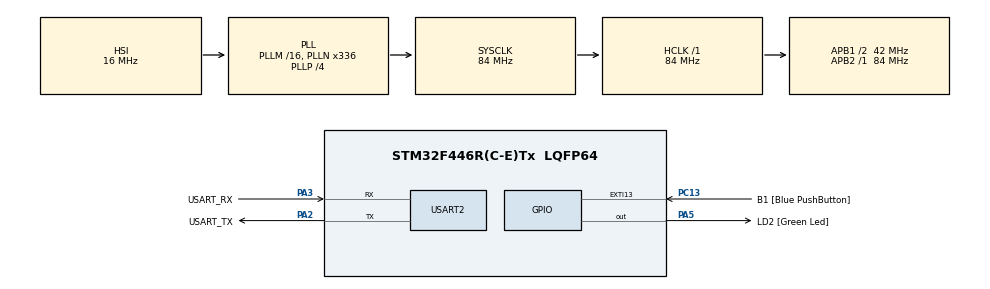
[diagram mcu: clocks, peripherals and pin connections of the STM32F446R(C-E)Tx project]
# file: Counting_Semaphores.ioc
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FREERTOS.Tasks01=defaultTask,0,128,StartDefaultTask,Default,NULL,Dynamic,NULL,NULL
FREERTOS.configUSE_COUNTING_SEMAPHORES=1
FREERTOS.configUSE_NEWLIB_REENTRANT=1
Mcu.Family=STM32F4
Mcu.Name=STM32F446R(C-E)Tx
Mcu.Package=LQFP64
NVIC.PriorityGroup=NVIC_PRIORITYGROUP_4
NVIC.TIM6_DAC_IRQn=true\:15\:0\:false\:false\:true\:false\:false\:true\:true
NVIC.TimeBase=TIM6_DAC_IRQn
NVIC.TimeBaseIP=TIM6
PA13.GPIO_Label=TMS
PA13.Mode=Serial_Wire
PA13.Signal=SYS_JTMS-SWDIO
PA14.GPIO_Label=TCK
PA14.Mode=Serial_Wire
PA14.Signal=SYS_JTCK-SWCLK
PA2.GPIO_Label=USART_TX
PA2.Mode=Asynchronous
PA2.Signal=USART2_TX
PA3.GPIO_Label=USART_RX
PA3.Mode=Asynchronous
PA3.Signal=USART2_RX
PA5.GPIO_Label=LD2 [Green Led]
PA5.Signal=GPIO_Output
PB3.GPIO_Label=SWO
PB3.Signal=SYS_JTDO-SWO
PC13.GPIO_Label=B1 [Blue PushButton]
PC13.GPIO_ModeDefaultEXTI=GPIO_MODE_IT_FALLING
PC13.Signal=GPXTI13
PC14-OSC32_IN.Mode=LSE-External-Oscillator
PC14-OSC32_IN.Signal=RCC_OSC32_IN
PC15-OSC32_OUT.Mode=LSE-External-Oscillator
PC15-OSC32_OUT.Signal=RCC_OSC32_OUT
PH0-OSC_IN.Mode=HSE-External-Oscillator
PH0-OSC_IN.Signal=RCC_OSC_IN
PH1-OSC_OUT.Mode=HSE-External-Oscillator
PH1-OSC_OUT.Signal=RCC_OSC_OUT
ProjectManager.HeapSize=0x200
ProjectManager.StackSize=0x400
ProjectManager.TargetToolchain=STM32CubeIDE
RCC.48MHZClocksFreq_Value=84000000
RCC.AHBFreq_Value=84000000
RCC.APB1CLKDivider=RCC_HCLK_DIV2
RCC.APB1Freq_Value=42000000
RCC.APB1TimFreq_Value=84000000
RCC.APB2Freq_Value=84000000
RCC.APB2TimFreq_Value=84000000
RCC.CortexFreq_Value=84000000
RCC.FLatency-AdvancedSettings=FLASH_LATENCY_2
RCC.HCLKFreq_Value=84000000
RCC.HSE_VALUE=8000000
RCC.HSI_VALUE=16000000
RCC.PLLN=336
RCC.PLLP=RCC_PLLP_DIV4
RCC.SYSCLKFreq_VALUE=84000000
RCC.SYSCLKSource=RCC_SYSCLKSOURCE_PLLCLK
RCC.USBFreq_Value=168000000
RCC.VCOOutputFreq_Value=336000000
USART2.VirtualMode=VM_ASYNC
VP_FREERTOS_VS_CMSIS_V1.Mode=CMSIS_V1
VP_SYS_VS_tim6.Mode=TIM6
board=NUCLEO-F446RE

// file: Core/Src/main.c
/* USER CODE BEGIN Header */
/**
  ******************************************************************************
  * @file           : main.c
  * @brief          : Main program body
  ******************************************************************************
  * @attention
  *
  * Copyright (c) 2025 STMicroelectronics.
  * All rights reserved.
  *
  * This software is licensed under terms that can be found in the LICENSE file
  * in the root directory of this software component.
  * If no LICENSE file comes with this software, it is provided AS-IS.
  *
  ******************************************************************************
  */
/* USER CODE END Header */
#include "main.h"
#include "cmsis_os.h"

/* USER CODE BEGIN Includes */
#include "FreeRTOS.h"
#include "task.h"
#include "timers.h"
#include "queue.h"
#include "semphr.h"
#include "event_groups.h"

#include "stdlib.h"
#include "string.h"

/* USER CODE END Includes */

UART_HandleTypeDef huart2;

/* USER CODE BEGIN PV */
char str[100];
//Task based
TaskHandle_t HPT_Handler;
void HPT_task(void *pvParameters);

TaskHandle_t MPT_Handler;
void MPT_task(void *pvParameters);

TaskHandle_t LPT_Handler;
void LPT_task(void *pvParameters);

TaskHandle_t VLPT_Handler;
void VLPT_task(void *pvParameters);

//Semaphore based
SemaphoreHandle_t CountingSemaphore;

//resource based
int resource[3] = {111,222,333};
int idx = 0;

uint8_t rxdata = 0;
/* USER CODE END PV */

void SystemClock_Config(void);
static void MX_GPIO_Init(void);
static void MX_USART2_UART_Init(void);

int main(void)
{

  /* MCU Configuration--------------------------------------------------------*/

  /* Reset of all peripherals, Initializes the Flash interface and the Systick. */
  HAL_Init();

  /* Configure the system clock */
  SystemClock_Config();

  /* Initialize all configured peripherals */
  MX_GPIO_Init();
  MX_USART2_UART_Init();

  /* USER CODE BEGIN 2 */
  CountingSemaphore = xSemaphoreCreateCounting(3,0);
  if (CountingSemaphore == NULL){
	  HAL_UART_Transmit(&huart2, (uint8_t *)"Unable to CreateSemaphore\r\n ",50,HAL_MAX_DELAY);
	  sprintf(str,"Unable to initialze CS");
  }
  else{
	  HAL_UART_Transmit(&huart2, (uint8_t*)"initialised the counting semaphore",50,HAL_MAX_DELAY);
	  sprintf(str,"initialzed CS");
  }

  //create tasks

  xTaskCreate(HPT_task,"HPT",128,NULL,3,&HPT_Handler);
  xTaskCreate(MPT_task,"MPT",128,NULL,2,&MPT_Handler);
  xTaskCreate(LPT_task,"LPT",128,NULL,1,&LPT_Handler);
  xTaskCreate(VLPT_task,"VLPT",128,NULL,0,&VLPT_Handler);

  vTaskStartScheduler();
  /* USER CODE END 2 */

  /* Create the thread(s) */

  /* We should never get here as control is now taken by the scheduler */

  /* Infinite loop */
  while (1)
  {

  }
}

void SystemClock_Config(void)
{
  RCC_OscInitTypeDef RCC_OscInitStruct = {0};
  RCC_ClkInitTypeDef RCC_ClkInitStruct = {0};

  /** Configure the main internal regulator output voltage
  */
  __HAL_RCC_PWR_CLK_ENABLE();
  __HAL_PWR_VOLTAGESCALING_CONFIG(PWR_REGULATOR_VOLTAGE_SCALE3);

  /** Initializes the RCC Oscillators according to the specified parameters
  * in the RCC_OscInitTypeDef structure.
  */
  RCC_OscInitStruct.OscillatorType = RCC_OSCILLATORTYPE_HSI;
  RCC_OscInitStruct.HSIState = RCC_HSI_ON;
  RCC_OscInitStruct.HSICalibrationValue = RCC_HSICALIBRATION_DEFAULT;
  RCC_OscInitStruct.PLL.PLLState = RCC_PLL_ON;
  RCC_OscInitStruct.PLL.PLLSource = RCC_PLLSOURCE_HSI;
  RCC_OscInitStruct.PLL.PLLM = 16;
  RCC_OscInitStruct.PLL.PLLN = 336;
  RCC_OscInitStruct.PLL.PLLP = RCC_PLLP_DIV4;
  RCC_OscInitStruct.PLL.PLLQ = 2;
  RCC_OscInitStruct.PLL.PLLR = 2;
  if (HAL_RCC_OscConfig(&RCC_OscInitStruct) != HAL_OK)
  {
    Error_Handler();
  }

  /** Initializes the CPU, AHB and APB buses clocks
  */
  RCC_ClkInitStruct.ClockType = RCC_CLOCKTYPE_HCLK|RCC_CLOCKTYPE_SYSCLK
                              |RCC_CLOCKTYPE_PCLK1|RCC_CLOCKTYPE_PCLK2;
  RCC_ClkInitStruct.SYSCLKSource = RCC_SYSCLKSOURCE_PLLCLK;
  RCC_ClkInitStruct.AHBCLKDivider = RCC_SYSCLK_DIV1;
  RCC_ClkInitStruct.APB1CLKDivider = RCC_HCLK_DIV2;
  RCC_ClkInitStruct.APB2CLKDivider = RCC_HCLK_DIV1;

  if (HAL_RCC_ClockConfig(&RCC_ClkInitStruct, FLASH_LATENCY_2) != HAL_OK)
  {
    Error_Handler();
  }
}

static void MX_USART2_UART_Init(void)
{

  huart2.Instance = USART2;
  huart2.Init.BaudRate = 115200;
  huart2.Init.WordLength = UART_WORDLENGTH_8B;
  huart2.Init.StopBits = UART_STOPBITS_1;
  huart2.Init.Parity = UART_PARITY_NONE;
  huart2.Init.Mode = UART_MODE_TX_RX;
  huart2.Init.HwFlowCtl = UART_HWCONTROL_NONE;
  huart2.Init.OverSampling = UART_OVERSAMPLING_16;
  if (HAL_UART_Init(&huart2) != HAL_OK)
  {
    Error_Handler();
  }

}

static void MX_GPIO_Init(void)
{
  GPIO_InitTypeDef GPIO_InitStruct = {0};

  /* GPIO Ports Clock Enable */
  __HAL_RCC_GPIOC_CLK_ENABLE();
  __HAL_RCC_GPIOH_CLK_ENABLE();
  __HAL_RCC_GPIOA_CLK_ENABLE();
  __HAL_RCC_GPIOB_CLK_ENABLE();

  /*Configure GPIO pin Output Level */
  HAL_GPIO_WritePin(LD2_GPIO_Port, LD2_Pin, GPIO_PIN_RESET);

  /*Configure GPIO pin : B1_Pin */
  GPIO_InitStruct.Pin = B1_Pin;
  GPIO_InitStruct.Mode = GPIO_MODE_IT_FALLING;
  GPIO_InitStruct.Pull = GPIO_NOPULL;
  HAL_GPIO_Init(B1_GPIO_Port, &GPIO_InitStruct);

  /*Configure GPIO pin : LD2_Pin */
  GPIO_InitStruct.Pin = LD2_Pin;
  GPIO_InitStruct.Mode = GPIO_MODE_OUTPUT_PP;
  GPIO_InitStruct.Pull = GPIO_NOPULL;
  GPIO_InitStruct.Speed = GPIO_SPEED_FREQ_LOW;
  HAL_GPIO_Init(LD2_GPIO_Port, &GPIO_InitStruct);

}

/* USER CODE BEGIN 4 */
void HPT_task(void *pvParameters){
	char sresource[10];

	//Give 3 semaphores at the beginning
	xSemaphoreGive(CountingSemaphore);
	xSemaphoreGive(CountingSemaphore);
	xSemaphoreGive(CountingSemaphore);
	while(1){
		char str[] = "Entered HPT task \n about to acquire the semaphore\r\n";
	    xSemaphoreTake(CountingSemaphore,portMAX_DELAY);

	    itoa(resource[idx],sresource,10);
	    strcpy(str,sresource);
	    strcat(str,"\n Not releasing the Semaphore\r\n");
	    HAL_UART_Transmit(&huart2, (uint8_t *)str,strlen(str),HAL_MAX_DELAY);

	    idx ++;
	    if (idx >2) idx = 0;
	    vTaskDelay(3000);
	}
}

/* USER CODE BEGIN 4 */
void MPT_task(void *pvParameters){
	char sresource[10];

	while(1){
		char str[] = "Entered MPT task \n about to acquire the semaphore\r\n";
	    xSemaphoreTake(CountingSemaphore,portMAX_DELAY);

	    itoa(resource[idx],sresource,10);
	    strcpy(str,sresource);
	    strcat(str,"\n Not releasing the Semaphore\r\n");
	    HAL_UART_Transmit(&huart2, (uint8_t *)str,strlen(str),HAL_MAX_DELAY);

	    idx ++;
	    if (idx >2) idx = 0;
	    vTaskDelay(1000);
	}
}

/* USER CODE BEGIN 4 */
void LPT_task(void *pvParameters){
	char sresource[10];

	while(1){
		char str[] = "Entered LPT task \n about to acquire the semaphore\r\n";
	    xSemaphoreTake(CountingSemaphore,portMAX_DELAY);

	    itoa(resource[idx],sresource,10);
	    strcpy(str,sresource);
	    strcat(str,"\n Not releasing the Semaphore\r\n");
	    HAL_UART_Transmit(&huart2, (uint8_t *)str,strlen(str),HAL_MAX_DELAY);

	    idx ++;
	    if (idx >2) idx = 0;
	    vTaskDelay(1000);
	}
}

/* USER CODE BEGIN 4 */
void VLPT_task(void *pvParameters){
	char sresource[10];

	while(1){
		char str[] = "Entered VLPT task \n about to acquire the semaphore\r\n";
	    xSemaphoreTake(CountingSemaphore,portMAX_DELAY);

	    itoa(resource[idx],sresource,10);
	    strcpy(str,sresource);
	    strcat(str,"\n Not releasing the Semaphore\r\n");
	    HAL_UART_Transmit(&huart2, (uint8_t *)str,strlen(str),HAL_MAX_DELAY);

	    idx ++;
	    if (idx >2) idx = 0;
	    vTaskDelay(1000);
	}
}
/* USER CODE END 4 */

void HAL_TIM_PeriodElapsedCallback(TIM_HandleTypeDef *htim)
{
  if (htim->Instance == TIM6) {
    HAL_IncTick();
  }
}

void Error_Handler(void)
{
  __disable_irq();
  while (1)
  {
  }
}
